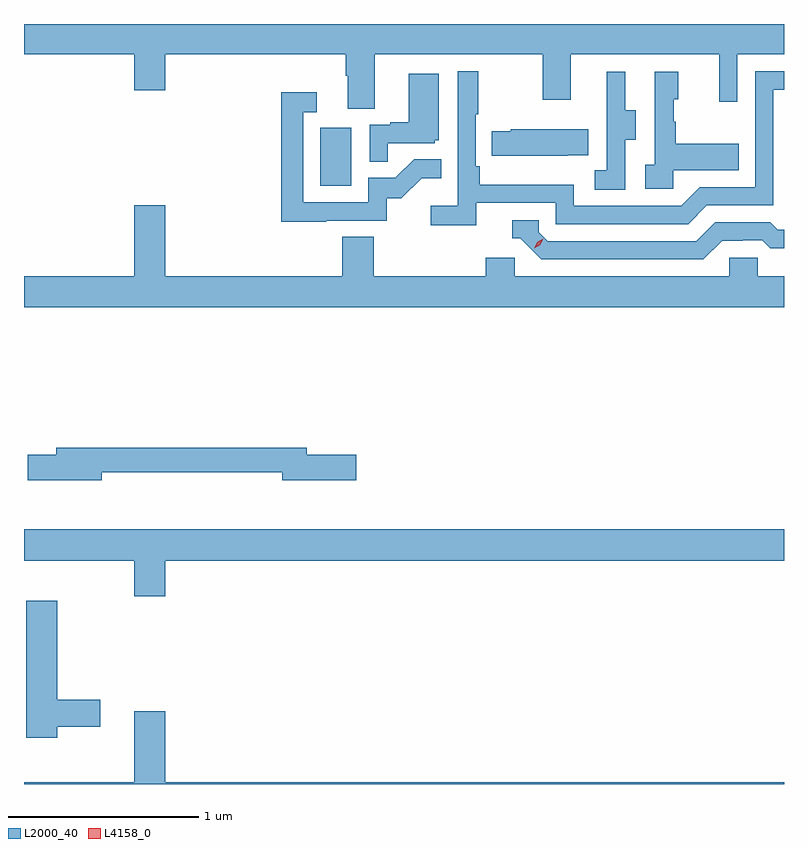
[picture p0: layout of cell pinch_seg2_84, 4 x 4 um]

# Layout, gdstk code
import gdstk
lib = gdstk.Library(unit=1e-6, precision=1e-09)
def R(c, l, rs):  # rectangles x0, y0, x1, y1
    for r in rs: c.add(gdstk.rectangle(r[:2], r[2:], *l))
def P(c, l, *ps):  # polygons
    for p in ps: c.add(gdstk.Polygon(p, *l))
L2000_40 = (2000, 40)
L4158_0 = (4158, 0)

pinch_seg2_84 = lib.new_cell('pinch_seg2_84')
R(pinch_seg2_84, L2000_40, [(1053.098,653.604,1053.262,653.911)])
P(pinch_seg2_84, L2000_40, [(1053.385,654.296),(1054.27,654.296),(1054.27,654.057),(1054.417,654.057),(1054.417,654.296),(1055.198,654.296),(1055.198,654.048),(1055.295,654.048),(1055.295,654.296),(1055.54,654.296),(1055.54,654.456),(1051.54,654.456),(1051.54,654.296),(1052.12,654.296),(1052.12,654.108),(1052.284,654.108),(1052.284,654.296),(1053.233,654.296),(1053.233,654.184),(1053.245,654.184),(1053.245,654.01),(1053.385,654.01)],
  [(1053.92,653.514),(1054.338,653.514),(1054.338,653.403),(1055.035,653.403),(1055.134,653.502),(1055.484,653.502),(1055.484,654.111),(1055.54,654.111),(1055.54,654.207),(1055.388,654.207),(1055.388,653.598),(1055.097,653.598),(1054.998,653.499),(1054.434,653.499),(1054.434,653.611),(1053.938,653.611),(1053.938,653.707),(1053.918,653.707),(1053.918,653.98),(1053.931,653.98),(1053.931,654.208),(1053.822,654.208),(1053.822,653.5),(1053.681,653.5),(1053.681,653.398),(1053.92,653.398)],
  [(1054.704,653.848),(1054.759,653.848),(1054.759,654.003),(1054.705,654.003),(1054.705,654.205),(1054.607,654.205),(1054.607,653.991),(1054.608,653.991),(1054.608,653.687),(1054.545,653.687),(1054.545,653.584),(1054.704,653.584)],
  [(1054.956,653.687),(1055.303,653.687),(1055.303,653.827),(1054.969,653.827),(1054.969,653.942),(1054.959,653.942),(1054.959,654.06),(1054.984,654.06),(1054.984,654.205),(1054.86,654.205),(1054.86,653.714),(1054.809,653.714),(1054.809,653.589),(1054.956,653.589)],
  [(1053.455,653.829),(1053.702,653.829),(1053.702,653.844),(1053.724,653.844),(1053.724,654.193),(1053.566,654.193),(1053.566,653.938),(1053.467,653.938),(1053.467,653.925),(1053.36,653.925),(1053.36,653.731),(1053.455,653.731)],
  [(1053.131,653.421),(1053.45,653.421),(1053.45,653.538),(1053.526,653.538),(1053.633,653.645),(1053.737,653.645),(1053.737,653.744),(1053.593,653.744),(1053.495,653.646),(1053.351,653.646),(1053.351,653.517),(1053.009,653.517),(1053.009,653.991),(1053.082,653.991),(1053.082,654.097),(1052.893,654.097),(1052.893,653.416),(1053.131,653.416)],
  [(1054.403,653.765),(1054.511,653.765),(1054.511,653.902),(1054.101,653.902),(1054.101,653.892),(1054.003,653.892),(1054.003,653.762),(1054.403,653.762)],
  [(1055.54,653.128),(1055.403,653.128),(1055.403,653.226),(1055.253,653.226),(1055.253,653.128),(1054.122,653.128),(1054.122,653.226),(1053.971,653.226),(1053.971,653.128),(1053.38,653.128),(1053.38,653.336),(1053.215,653.336),(1053.215,653.128),(1052.284,653.128),(1052.284,653.503),(1052.12,653.503),(1052.12,653.128),(1051.54,653.128),(1051.54,652.964),(1055.54,652.964)],
  [(1055.215,653.316),(1055.322,653.316),(1055.322,653.319),(1055.425,653.319),(1055.467,653.277),(1055.54,653.277),(1055.54,653.373),(1055.506,653.373),(1055.467,653.412),(1055.178,653.412),(1055.079,653.313),(1054.296,653.313),(1054.248,653.361),(1054.248,653.424),(1054.109,653.424),(1054.109,653.328),(1054.152,653.328),(1054.263,653.217),(1055.116,653.217)],
  [(1051.948,652.098),(1052.9,652.098),(1052.9,652.055),(1053.289,652.055),(1053.289,652.19),(1053.028,652.19),(1053.028,652.226),(1051.709,652.226),(1051.709,652.19),(1051.56,652.19),(1051.56,652.055),(1051.948,652.055)],
  [(1052.284,651.632),(1055.54,651.632),(1055.54,651.796),(1051.54,651.796),(1051.54,651.632),(1052.12,651.632),(1052.12,651.444),(1052.284,651.444)],
  [(1051.714,650.758),(1051.942,650.758),(1051.942,650.9),(1051.714,650.9),(1051.714,651.421),(1051.553,651.421),(1051.553,650.7),(1051.714,650.7)],
  [(1055.54,650.464),(1052.284,650.464),(1052.284,650.839),(1052.12,650.839),(1052.12,650.464),(1051.54,650.464),(1051.54,650.456),(1055.54,650.456)])
P(pinch_seg2_84, L4158_0, [(1054.225,653.275),(1054.225,653.275),(1054.242,653.307),(1054.272,653.326),(1054.273,653.326),(1054.273,653.326),(1054.256,653.294),(1054.225,653.275)])

lib.write_gds('pinch_seg2_84.gds')
